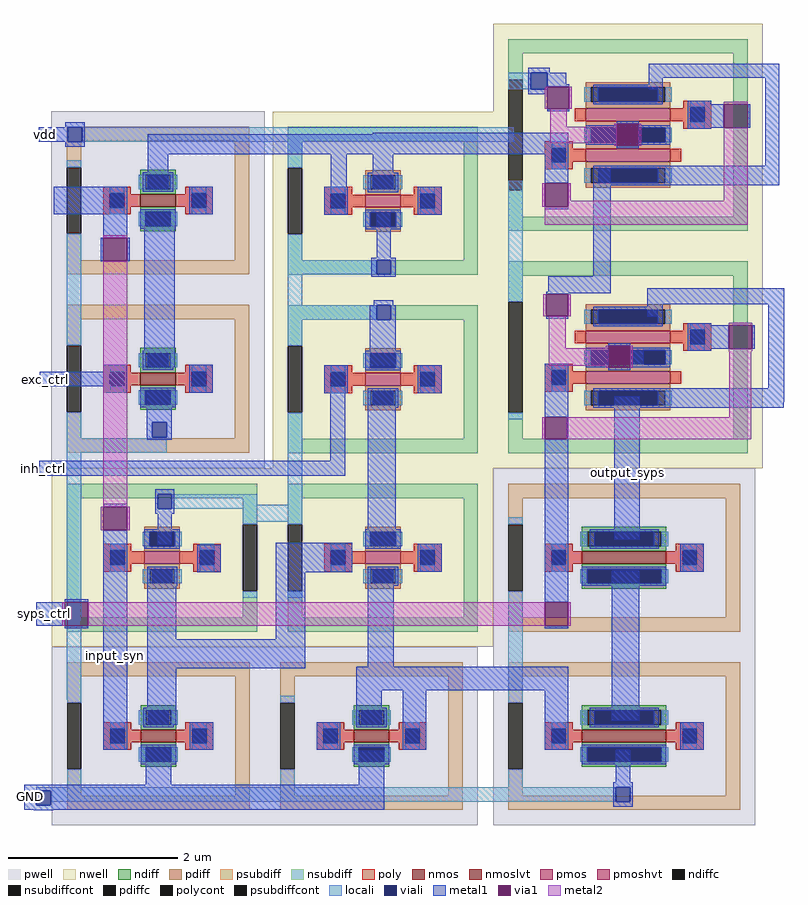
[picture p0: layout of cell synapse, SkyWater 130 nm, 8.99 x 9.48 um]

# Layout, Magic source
magic
tech sky130A
magscale 1 2
<< nwell >>
rect 1930 176 1986 242
rect 2144 -25 2178 257
<< pwell >>
rect 1068 177 1237 243
rect 1915 -949 2286 -893
<< locali >>
rect 2144 473 2197 512
rect 1136 349 2157 383
rect 1622 294 1656 349
rect 1099 -126 1133 124
rect 1622 69 1656 127
rect 1622 35 1832 69
rect 1622 -38 1656 35
rect 2144 -25 2178 257
rect 1622 -72 1832 -38
rect 1622 -122 1656 -72
rect 1099 -352 1134 -300
rect 1301 -352 1336 -350
rect 1099 -387 1336 -352
rect 1099 -971 1134 -387
rect 1348 -510 1550 -485
rect 1622 -510 1656 -298
rect 1348 -519 1656 -510
rect 1516 -550 1656 -519
rect 2144 -969 2178 -724
rect 1108 -1152 1124 -1136
rect 1100 -1178 1134 -1152
rect 1604 -1178 1638 -1136
rect 2144 -1178 2178 -1144
rect 1027 -1187 2398 -1178
rect 1061 -1212 2398 -1187
<< viali >>
rect 2197 473 2236 512
rect 1102 349 1136 383
rect 1832 35 1866 69
rect 1832 -72 1866 -38
rect 1301 -350 1336 -315
rect 1314 -519 1348 -485
rect 1027 -1221 1061 -1187
rect 2398 -1212 2432 -1178
<< metal1 >>
rect 2191 512 2242 524
rect 2191 473 2197 512
rect 2236 485 2281 512
rect 2476 500 2785 533
rect 2236 479 2288 485
rect 2191 461 2236 473
rect 2476 473 2509 500
rect 2236 421 2288 427
rect 2568 438 2624 446
rect 1096 383 1142 395
rect 1033 349 1102 383
rect 1136 349 1142 383
rect 2400 391 2452 397
rect 1823 367 2286 370
rect 1096 337 1142 349
rect 1291 319 2286 367
rect 2568 382 2654 438
rect 2710 382 2716 438
rect 2568 380 2624 382
rect 2400 333 2452 339
rect 1291 277 1339 319
rect 1285 271 1345 277
rect 1068 177 1242 243
rect 1279 237 1351 271
rect 1186 122 1242 177
rect 1180 66 1186 122
rect 1242 66 1248 122
rect 1185 -195 1241 -179
rect 1283 -185 1355 183
rect 1389 177 1445 243
rect 1724 242 1761 319
rect 1708 176 1764 242
rect 1823 236 1871 319
rect 2230 251 2286 319
rect 2752 292 2785 500
rect 1832 75 1866 182
rect 1930 176 1986 242
rect 2230 189 2286 195
rect 1820 69 1878 75
rect 1820 35 1832 69
rect 1866 35 1878 69
rect 1820 29 1878 35
rect 2345 31 2386 292
rect 2498 246 2785 292
rect 2238 -6 2386 31
rect 2233 -10 2386 -6
rect 2233 -12 2285 -10
rect 1826 -38 1872 -26
rect 1816 -72 1832 -38
rect 1866 -72 1878 -38
rect 2233 -70 2285 -64
rect 2472 -35 2796 2
rect 2472 -65 2509 -35
rect 1035 -229 1241 -195
rect 1185 -245 1241 -229
rect 1301 -240 1336 -239
rect 1288 -315 1348 -240
rect 1389 -245 1445 -179
rect 1708 -246 1764 -180
rect 1816 -182 1878 -72
rect 2568 -85 2624 -80
rect 2380 -134 2432 -128
rect 1288 -350 1301 -315
rect 1336 -350 1348 -315
rect 1289 -356 1348 -350
rect 1723 -406 1758 -246
rect 1034 -441 1758 -406
rect 1308 -485 1354 -473
rect 1186 -514 1242 -508
rect 1308 -519 1314 -485
rect 1348 -519 1354 -485
rect 1308 -531 1354 -519
rect 1094 -740 1150 -734
rect 1027 -796 1094 -740
rect 1094 -802 1150 -796
rect 1186 -1090 1242 -570
rect 1314 -604 1348 -531
rect 1289 -828 1358 -662
rect 1408 -670 1464 -604
rect 1594 -669 1774 -600
rect 1811 -608 1877 -240
rect 1930 -246 1986 -180
rect 2230 -303 2286 -176
rect 2432 -180 2464 -139
rect 2568 -141 2665 -85
rect 2721 -141 2727 -85
rect 2568 -146 2624 -141
rect 2380 -192 2432 -186
rect 2759 -234 2796 -35
rect 2282 -355 2286 -303
rect 1594 -828 1663 -669
rect 1289 -897 1663 -828
rect 1811 -893 1873 -662
rect 1930 -668 1986 -602
rect 2230 -740 2286 -355
rect 2394 -592 2455 -253
rect 2502 -266 2796 -234
rect 2502 -280 2795 -266
rect 2230 -802 2286 -796
rect 1289 -1030 1358 -897
rect 1784 -949 2286 -893
rect 1286 -1172 1346 -1084
rect 1390 -1090 1446 -1024
rect 1690 -1090 1746 -1024
rect 1784 -1030 1844 -949
rect 1894 -1090 1950 -949
rect 2230 -1089 2286 -949
rect 2389 -1021 2454 -666
rect 2550 -668 2606 -602
rect 1790 -1172 1850 -1092
rect 2398 -1166 2432 -1089
rect 2550 -1090 2606 -1024
rect 998 -1187 1850 -1172
rect 998 -1221 1027 -1187
rect 1061 -1221 1850 -1187
rect 998 -1232 1850 -1221
rect 2392 -1178 2438 -1166
rect 2392 -1212 2398 -1178
rect 2432 -1212 2438 -1178
rect 2392 -1224 2438 -1212
rect 1021 -1233 1067 -1232
<< via1 >>
rect 2236 427 2288 479
rect 2400 339 2452 391
rect 2654 382 2710 438
rect 1186 66 1242 122
rect 2230 195 2286 251
rect 2233 -64 2285 -12
rect 1186 -570 1242 -514
rect 1094 -796 1150 -740
rect 2380 -186 2432 -134
rect 2665 -141 2721 -85
rect 2230 -355 2282 -303
rect 2230 -796 2286 -740
<< metal2 >>
rect 2230 427 2236 479
rect 2288 427 2294 479
rect 2654 438 2710 444
rect 2243 384 2282 427
rect 2394 384 2400 391
rect 2243 345 2400 384
rect 2394 339 2400 345
rect 2452 339 2458 391
rect 2224 195 2230 251
rect 2286 209 2292 251
rect 2654 209 2710 382
rect 2286 195 2710 209
rect 2230 153 2710 195
rect 1186 122 1242 128
rect 1186 -514 1242 66
rect 2227 -64 2233 -12
rect 2285 -64 2291 -12
rect 2239 -140 2280 -64
rect 2665 -85 2721 -79
rect 2374 -140 2380 -134
rect 2239 -181 2380 -140
rect 2374 -186 2380 -181
rect 2432 -186 2438 -134
rect 2665 -147 2721 -141
rect 2667 -303 2719 -147
rect 2224 -355 2230 -303
rect 2282 -355 2719 -303
rect 1180 -570 1186 -514
rect 1242 -570 1248 -514
rect 1088 -796 1094 -740
rect 1150 -796 2230 -740
rect 2286 -796 2292 -740
use sky130_fd_pr__nfet_01v8_LAQ5H5  XM7
transform 0 1 2418 1 0 -635
box -211 -310 211 310
use sky130_fd_pr__nfet_01v8_LY9833  XM8
transform 0 1 1315 1 0 -212
box -211 -252 211 252
use sky130_fd_pr__pfet_01v8_JC5RM4  XM9
transform 0 1 2427 1 0 -161
box -263 -319 263 319
use sky130_fd_pr__pfet_01v8_JC5RM4  XM10
transform 0 1 2427 1 0 365
box -263 -319 263 319
use sky130_fd_pr__pfet_01v8_EBBUFJ  XM11
transform 0 -1 1325 1 0 -635
box -211 -261 211 261
use sky130_fd_pr__nfet_01v8_LY9833  XM12
transform 0 1 1316 1 0 -1057
box -211 -252 211 252
use sky130_fd_pr__pfet_01v8_hvt_EBBUFJ  XM13
transform 0 1 1847 1 0 -635
box -211 -261 211 261
use sky130_fd_pr__nfet_01v8_lvt_LAQ5H5
transform 0 1 2418 1 0 -1057
box -211 -310 211 310
use sky130_fd_pr__nfet_01v8_LY9833  XM16
transform 0 1 1820 1 0 -1057
box -211 -252 211 252
use sky130_fd_pr__pfet_01v8_hvt_EBBUFJ  XM17
transform 0 1 1847 -1 0 209
box -211 -261 211 261
use sky130_fd_pr__pfet_01v8_EBBUFJ  XM18
transform 0 1 1847 1 0 -213
box -211 -261 211 261
use sky130_fd_pr__nfet_01v8_lvt_LY9833  XM19
transform 0 1 1315 1 0 210
box -211 -252 211 252
<< labels >>
flabel metal1 s 1049 365 1049 365 0 FreeSans 240 0 0 0 vdd
port 5 nsew
flabel metal1 s 1049 -214 1049 -214 0 FreeSans 240 0 0 0 exc_ctrl
port 4 nsew
flabel locali s 1043 -425 1043 -425 0 FreeSans 240 0 0 0 inh_ctrl
port 3 nsew
flabel metal1 1214 -867 1216 -864 0 FreeSans 240 0 0 0 input_syn
port 2 nsew
flabel metal1 1014 -1201 1014 -1201 0 FreeSans 240 0 0 0 GND
port 1 nsew
flabel metal1 s 1047 -768 1047 -768 0 FreeSans 240 0 0 0 syps_ctrl
port 6 nsew
flabel metal1 s 2426 -434 2426 -434 0 FreeSans 240 0 0 0 output_syps
port 7 nsew
<< end >>

# cell sky130_fd_pr__nfet_01v8_LAQ5H5: kit device sky130_fd_pr__nfet_01v8, w 1.0 l 0.15 m 1 nf 1 diffcov 100 polycov 100 guard 1 glc 0 grc 0 gtc 0 gbc 1 tbcov 100 rlcov 100 topc 1 botc 1 poverlap 0 doverlap 1 lmin 0.15 wmin 0.42 compatible {sky130_fd_pr__nfet_01v8 sky130_fd_pr__nfet_01v8_lvt sky130_fd_bs_flash__special_sonosfet_star sky130_fd_pr__nfet_g5v0d10v5 sky130_fd_pr__nfet_05v0_nvt sky130_fd_pr__nfet_03v3_nvt} full_metal 0 viasrc 80 viadrn 100 viagate 100 viagb 0 viagr 0 viagl 0 viagt 0

# cell sky130_fd_pr__nfet_01v8_LY9833: kit device sky130_fd_pr__nfet_01v8, w 0.42 l 0.15 m 1 nf 1 diffcov 100 polycov 100 guard 1 glc 0 grc 0 gtc 0 gbc 1 tbcov 100 rlcov 100 topc 1 botc 1 poverlap 0 doverlap 1 lmin 0.15 wmin 0.42 compatible {sky130_fd_pr__nfet_01v8 sky130_fd_pr__nfet_01v8_lvt sky130_fd_bs_flash__special_sonosfet_star sky130_fd_pr__nfet_g5v0d10v5 sky130_fd_pr__nfet_05v0_nvt sky130_fd_pr__nfet_03v3_nvt} full_metal 0 viasrc 80 viadrn 100 viagate 100 viagb 0 viagr 0 viagl 0 viagt 0

# cell sky130_fd_pr__pfet_01v8_JC5RM4: kit device sky130_fd_pr__pfet_01v8, w 1.0 l 0.15 m 1 nf 2 diffcov 100 polycov 100 guard 1 glc 0 grc 0 gtc 0 gbc 1 tbcov 100 rlcov 100 topc 1 botc 1 poverlap 0 doverlap 1 lmin 0.15 wmin 0.42 compatible {sky130_fd_pr__pfet_01v8 sky130_fd_pr__pfet_01v8_lvt sky130_fd_pr__pfet_01v8_hvt sky130_fd_pr__pfet_g5v0d10v5} full_metal 0 viasrc 100 viadrn 80 viagate 100 viagb 0 viagr 0 viagl 0 viagt 0

# cell sky130_fd_pr__pfet_01v8_EBBUFJ: kit device sky130_fd_pr__pfet_01v8, w 0.42 l 0.15 m 1 nf 1 diffcov 100 polycov 100 guard 1 glc 0 grc 0 gtc 0 gbc 1 tbcov 100 rlcov 100 topc 1 botc 1 poverlap 0 doverlap 1 lmin 0.15 wmin 0.42 compatible {sky130_fd_pr__pfet_01v8 sky130_fd_pr__pfet_01v8_lvt sky130_fd_pr__pfet_01v8_hvt sky130_fd_pr__pfet_g5v0d10v5} full_metal 0 viasrc 100 viadrn 80 viagate 100 viagb 0 viagr 0 viagl 0 viagt 0

# cell sky130_fd_pr__pfet_01v8_hvt_EBBUFJ: kit device sky130_fd_pr__pfet_01v8_hvt, w 0.42 l 0.15 m 1 nf 1 diffcov 100 polycov 100 guard 1 glc 0 grc 0 gtc 0 gbc 1 tbcov 100 rlcov 100 topc 1 botc 1 poverlap 0 doverlap 1 lmin 0.15 wmin 0.42 compatible {sky130_fd_pr__pfet_01v8 sky130_fd_pr__pfet_01v8_lvt sky130_fd_pr__pfet_01v8_hvt sky130_fd_pr__pfet_g5v0d10v5} full_metal 0 viasrc 100 viadrn 80 viagate 100 viagb 0 viagr 0 viagl 0 viagt 0

# cell sky130_fd_pr__nfet_01v8_lvt_LAQ5H5: kit device sky130_fd_pr__nfet_01v8_lvt, w 1.0 l 0.15 m 1 nf 1 diffcov 100 polycov 100 guard 1 glc 0 grc 0 gtc 0 gbc 1 tbcov 100 rlcov 100 topc 1 botc 1 poverlap 0 doverlap 1 lmin 0.15 wmin 0.42 compatible {sky130_fd_pr__nfet_01v8 sky130_fd_pr__nfet_01v8_lvt sky130_fd_bs_flash__special_sonosfet_star sky130_fd_pr__nfet_g5v0d10v5 sky130_fd_pr__nfet_05v0_nvt sky130_fd_pr__nfet_03v3_nvt} full_metal 0 viasrc 80 viadrn 100 viagate 100 viagb 0 viagr 0 viagl 0 viagt 0

# cell sky130_fd_pr__nfet_01v8_lvt_LY9833: kit device sky130_fd_pr__nfet_01v8_lvt, w 0.42 l 0.15 m 1 nf 1 diffcov 100 polycov 100 guard 1 glc 0 grc 0 gtc 0 gbc 1 tbcov 100 rlcov 100 topc 1 botc 1 poverlap 0 doverlap 1 lmin 0.15 wmin 0.42 compatible {sky130_fd_pr__nfet_01v8 sky130_fd_pr__nfet_01v8_lvt sky130_fd_bs_flash__special_sonosfet_star sky130_fd_pr__nfet_g5v0d10v5 sky130_fd_pr__nfet_05v0_nvt sky130_fd_pr__nfet_03v3_nvt} full_metal 0 viasrc 80 viadrn 100 viagate 100 viagb 0 viagr 0 viagl 0 viagt 0
